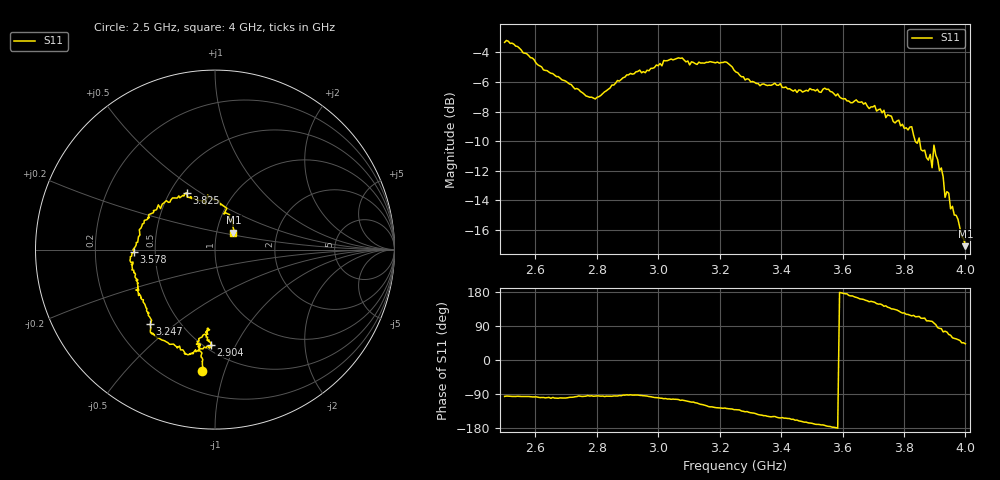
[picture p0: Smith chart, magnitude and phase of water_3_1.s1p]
# MHz S MA R 50
!  freq  S11
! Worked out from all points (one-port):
!   250 points, 2.5 GHz to 4 GHz, reference 50 ohm
!   lowest |S11| = -17.1 dB at 4 GHz (marker M1), VSWR 1.32, Z = 60.2 + j11.7 ohm
!   |S11| at or under -10 dB: 3.836859 GHz to 3.845757 GHz (8.898 MHz wide, 0.232 % of centre); 3.851 GHz to end of sweep
!   S11 on the Smith chart (normalised r, x): 2.5 GHz: 0.33, -0.84; 2.904 GHz: 0.54, -0.80; 3.247 GHz: 0.34, -0.41; 3.578 GHz: 0.38, -0.01; 3.825 GHz: 0.61, +0.44; 4 GHz: 1.20, +0.23
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2500  0.6825 -96.0
2692.771  0.5077 -100.2
2795.181  0.4393 -95.1
2879.518  0.5112 -94.3
2903.614  0.53 -92.6
3066.265  0.6051 -104.4
3168.675  0.5876 -123.7
3216.867  0.5865 -126.8
3246.988  0.5496 -131.1
3253.012  0.5416 -131.1
3331.325  0.487 -145.0
3439.759  0.467 -156.4
3542.169  0.4777 -172.6
3578.313  0.4502 -178.5
3626.506  0.4266 169.1
3704.819  0.4173 152.2
3813.253  0.3451 120.2
3825.301  0.3539 116.5
3837.349  0.3149 114.1
3885.542  0.2854 102.7
3891.566  0.2573 101.9
3897.59  0.3067 97.7
3927.711  0.2392 74.0
3933.735  0.2042 76.0
3945.783  0.2109 67.3
3951.807  0.1867 65.4
3975.904  0.1721 53.7
4000  0.1396 42.8
